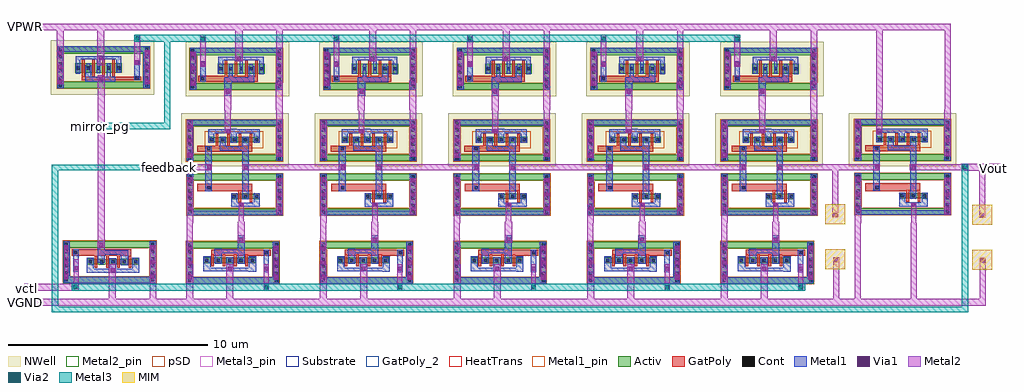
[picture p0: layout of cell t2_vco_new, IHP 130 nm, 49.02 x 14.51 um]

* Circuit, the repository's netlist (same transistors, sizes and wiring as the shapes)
* Extracted by KLayout with SG13G2 LVS runset on : 11/06/2025 10:43

.SUBCKT t2_vco_new
M$1 1 3 4 1 sg13_lv_nmos L=0.13u W=1u AS=0.295p AD=0.295p PS=3.56u PD=3.56u
M$5 1 3 5 1 sg13_lv_nmos L=0.13u W=1u AS=0.295p AD=0.295p PS=3.56u PD=3.56u
M$9 1 3 6 1 sg13_lv_nmos L=0.13u W=1u AS=0.295p AD=0.295p PS=3.56u PD=3.56u
M$13 1 3 7 1 sg13_lv_nmos L=0.13u W=1u AS=0.295p AD=0.295p PS=3.56u PD=3.56u
M$17 1 3 8 1 sg13_lv_nmos L=0.13u W=1u AS=0.295p AD=0.295p PS=3.56u PD=3.56u
M$21 1 3 9 1 sg13_lv_nmos L=0.13u W=1u AS=0.295p AD=0.295p PS=3.56u PD=3.56u
M$25 5 2 10 1 sg13_lv_nmos L=0.13u W=0.5u AS=0.17p AD=0.17p PS=2.08u PD=2.08u
M$27 6 10 11 1 sg13_lv_nmos L=0.13u W=0.5u AS=0.17p AD=0.17p PS=2.08u PD=2.08u
M$29 7 11 12 1 sg13_lv_nmos L=0.13u W=0.5u AS=0.17p AD=0.17p PS=2.08u PD=2.08u
M$31 8 12 13 1 sg13_lv_nmos L=0.13u W=0.5u AS=0.17p AD=0.17p PS=2.08u PD=2.08u
M$33 9 13 14 1 sg13_lv_nmos L=0.13u W=0.5u AS=0.17p AD=0.17p PS=2.08u PD=2.08u
M$35 1 14 2 1 sg13_lv_nmos L=0.13u W=0.5u AS=0.17p AD=0.17p PS=2.08u PD=2.08u
M$37 10 2 4 16 sg13_lv_pmos L=0.13u W=1u AS=0.2515p AD=0.34p PS=2.97u PD=4.16u
M$41 11 10 4 18 sg13_lv_pmos L=0.13u W=1u AS=0.2515p AD=0.34p PS=2.97u PD=4.16u
M$45 12 11 4 19 sg13_lv_pmos L=0.13u W=1u AS=0.2515p AD=0.34p PS=2.97u PD=4.16u
M$49 13 12 4 20 sg13_lv_pmos L=0.13u W=1u AS=0.2515p AD=0.34p PS=2.97u PD=4.16u
M$53 14 13 4 17 sg13_lv_pmos L=0.13u W=1u AS=0.2515p AD=0.34p PS=2.97u PD=4.16u
M$57 2 14 4 15 sg13_lv_pmos L=0.13u W=1u AS=0.2515p AD=0.34p PS=2.97u PD=4.16u
.ENDS t2_vco_new

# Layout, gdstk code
from math import pi, radians
import gdstk
lib = gdstk.Library(unit=1e-6, precision=1e-09)
def R(c, l, rs):  # rectangles x0, y0, x1, y1
    for r in rs: c.add(gdstk.rectangle(r[:2], r[2:], *l))
def A(c, l, x, y, w, h, nx, ny, dx, dy):  # array of equal rectangles
    R(c, l, [(x+i*dx, y+j*dy, x+i*dx+w, y+j*dy+h) for i in range(nx) for j in range(ny)])
def P(c, l, *ps):  # polygons
    for p in ps: c.add(gdstk.Polygon(p, *l))
Activ = (1, 0)
GatPoly = (5, 0)
GatPoly_2 = (5, 2)
Cont = (6, 0)
Metal1 = (8, 0)
Metal1_pin = (8, 2)
Metal2 = (10, 0)
Metal2_pin = (10, 2)
pSD = (14, 0)
Via1 = (19, 0)
Via2 = (29, 0)
Metal3 = (30, 0)
Metal3_pin = (30, 2)
NWell = (31, 0)
MIM = (36, 0)
Substrate = (40, 0)
HeatTrans = (51, 0)

nmos_2 = lib.new_cell('nmos$2')
R(nmos_2, Activ, [(0,0,0.3,0.3), (0.57,0,0.87,0.3), (0,0.025,0.87,0.275)])
R(nmos_2, GatPoly, [(0.37,-0.155,0.5,0.455)])
R(nmos_2, GatPoly_2, [(0.37,-0.155,0.5,0.455)])
R(nmos_2, Cont, [(0.07,0.07,0.23,0.23), (0.64,0.07,0.8,0.23)])
R(nmos_2, Metal1, [(0.07,0.02,0.23,0.28), (0.64,0.02,0.8,0.28)])
R(nmos_2, Metal1_pin, [(0.07,0.02,0.23,0.28), (0.64,0.02,0.8,0.28)])
R(nmos_2, HeatTrans, [(0.37,-0.155,0.5,0.455)])
nmos_2.add(gdstk.Label('nmos', (0.435,0.15), layer=63, texttype=0))
nmos_2.add(gdstk.Label('nmos', (0.435,0.15), layer=51, texttype=0))

pmos_2 = lib.new_cell('pmos$2')
R(pmos_2, Activ, [(0,0,0.3,0.3), (0.57,0,0.87,0.3), (0,0.025,0.87,0.275)])
R(pmos_2, GatPoly, [(0.37,-0.155,0.5,0.455), (0.37,-0.155,0.5,0.455)])
R(pmos_2, Cont, [(0.07,0.07,0.23,0.23), (0.64,0.07,0.8,0.23)])
R(pmos_2, Metal1, [(0.07,0.02,0.23,0.28), (0.07,0.02,0.23,0.28), (0.64,0.02,0.8,0.28), (0.64,0.02,0.8,0.28)])
R(pmos_2, pSD, [(-0.18,-0.275,1.05,0.575)])
R(pmos_2, NWell, [(-0.31,-0.31,1.18,0.61)])
R(pmos_2, Substrate, [(0.57,0,0.87,0.3)])
R(pmos_2, HeatTrans, [(0.37,-0.155,0.5,0.455)])
pmos_2.add(gdstk.Label('pmos', (0.435,0.15), layer=63, texttype=0))
pmos_2.add(gdstk.Label('pmos', (0.435,0.15), layer=51, texttype=0))

t2_inverter = lib.new_cell('T2_Inverter')
R(t2_inverter, Activ, [(-4.36,-2.545,0.14,-2.22), (0.14,-2.545,0.46,-0.79), (-4.36,-2.22,-4.04,-0.47), (-4.04,-0.79,0.46,-0.47), (-4.36,0.17,0.14,0.49), (0.14,0.17,0.46,1.92), (-4.36,0.49,-4.04,2.24), (-4.04,1.92,0.46,2.24)])
R(t2_inverter, GatPoly, [(-3.82,-1.36,-1.06,-0.97), (-3.835,0.635,-1.055,0.935)])
A(t2_inverter, Cont, -4.275, -2.13, 0.16, 0.16, 1, 5, 0, 0.355)
A(t2_inverter, Cont, 0.22, -2.13, 0.16, 0.16, 1, 5, 0, 0.355)
A(t2_inverter, Cont, -4.28, 0.58, 0.16, 0.16, 1, 5, 0, 0.355)
A(t2_inverter, Cont, 0.22, 0.58, 0.16, 0.16, 1, 5, 0, 0.355)
R(t2_inverter, Cont, [(-4.275,-2.475,-4.115,-2.31), (0.22,-2.475,0.38,-2.31), (-1.7,-2.11,-1.54,-1.95), (-0.92,-1.685,-0.76,-1.525), (-2.06,-1.68,-1.9,-1.52), (-1.49,-1.68,-1.33,-1.52), (-3.315,-1.26,-3.155,-1.1), (-4.28,0.24,-4.12,0.4), (0.215,0.24,0.375,0.4), (-3.335,0.715,-3.175,0.875)])
R(t2_inverter, Metal1, [(-4.36,-2.545,-4.04,-0.47), (-4.36,-2.545,-4.04,-0.47), (-4.04,-2.545,0.14,-2.325), (0.14,-2.545,0.46,-0.47), (-2.13,-2.14,-1.83,-1.45), (-1.835,-2.14,-0.995,-1.93), (-0.995,-2.14,-0.695,-1.45), (-1.575,-1.75,-1.255,1.38), (-3.43,-1.345,-3.09,0.9), (-4.36,0.17,-4.04,2.24), (0.14,0.17,0.46,2.24), (-2.705,0.69,-2.405,1.38), (-2.415,0.695,-1.575,0.905), (-3.275,1.085,-2.975,1.775), (-0.995,1.085,-0.695,1.775), (-2.14,1.09,-1.84,1.78), (-2.975,1.565,-2.135,1.775), (-1.84,1.565,-0.995,1.775), (-4.04,1.96,0.14,2.24)])
R(t2_inverter, Metal2, [(-1.745,-2.965,-1.485,-1.93), (-4.365,-2.94,-4.04,-1.995), (-4.36,-2.52,-4.04,-0.645), (0.14,-2.52,0.46,-0.69), (-5.385,-0.3,-3.09,0), (-1.575,-0.3,1.335,0), (-4.365,0.335,-4.045,2.22), (0.14,0.38,0.46,2.225), (-2.44,1.565,-2.14,2.845), (0.14,1.755,0.46,2.755), (0.14,1.755,0.46,2.755)])
R(t2_inverter, Metal2_pin, [(-1.725,-2.14,-1.515,-1.93), (-4.3,-0.91,-4.09,-0.7), (-1.505,-0.265,-1.295,-0.055), (-3.335,-0.25,-3.125,-0.04), (-4.305,0.385,-4.095,0.595), (-2.395,1.565,-2.185,1.775)])
R(t2_inverter, pSD, [(-4.385,-2.575,0.115,-2.19), (0.115,-2.575,0.495,-0.82), (-4.385,-2.19,-4.005,-0.44), (-4.005,-0.82,0.495,-0.44), (-4.395,0.14,0.105,0.525), (0.105,0.14,0.485,1.895), (-4.395,0.525,-4.015,2.275), (-4.015,1.895,0.485,2.275)])
R(t2_inverter, Via1, [(-4.29,-2.315,-4.1,-2.125), (0.205,-2.315,0.395,-2.125), (-1.715,-2.13,-1.525,-1.94), (-4.29,-1.61,-4.1,-1.42), (0.205,-1.61,0.395,-1.42), (-4.29,-0.9,-4.1,-0.71), (0.205,-0.9,0.395,-0.71), (-1.495,-0.255,-1.305,-0.065), (-3.325,-0.24,-3.135,-0.05), (-4.295,0.395,-4.105,0.585), (0.205,0.395,0.395,0.585), (-4.295,1.1,-4.105,1.29), (0.205,1.1,0.395,1.29), (-2.385,1.575,-2.195,1.765), (-4.295,1.81,-4.105,2), (0.205,1.81,0.395,2)])
R(t2_inverter, NWell, [(-4.645,-0.095,0.755,2.555)])
t2_inverter.add(gdstk.Reference(nmos_2, (-1.56,-1.75)))
t2_inverter.add(gdstk.Reference(nmos_2, (-2.13,-1.75)))
t2_inverter.add(gdstk.Reference(pmos_2, (-2.125,1.085)))
t2_inverter.add(gdstk.Reference(pmos_2, (-1.555,1.085)))
t2_inverter.add(gdstk.Reference(pmos_2, (-2.695,1.085)))
t2_inverter.add(gdstk.Reference(pmos_2, (-3.265,1.09)))
t2_inverter.add(gdstk.Label('Y', (-1.395,-0.165), layer=10, texttype=2))
t2_inverter.add(gdstk.Label('A', (-3.225,-0.095), layer=10, texttype=2))
t2_inverter.add(gdstk.Label('VGND', (-1.61,-2.025), layer=10, texttype=2))
t2_inverter.add(gdstk.Label('VPWR', (-2.32,1.67), layer=10, texttype=2))
t2_inverter.add(gdstk.Label('VPB', (0.29,1.895), layer=10, texttype=2))
t2_inverter.add(gdstk.Label('VNB', (-4.245,-2.93), layer=10, texttype=2))

nmos_bulk = lib.new_cell('nmos_bulk')
R(nmos_bulk, Activ, [(-0.2,2.025,4.13,2.345), (4.13,2.025,4.45,3.805), (-0.2,2.345,0.12,4.125), (0.12,3.805,4.45,4.125)])
R(nmos_bulk, GatPoly, [(1.045,2.43,4.035,2.72)])
A(nmos_bulk, Cont, -0.12, 2.465, 0.16, 0.16, 1, 5, 0, 0.355)
A(nmos_bulk, Cont, 4.225, 2.465, 0.16, 0.16, 1, 5, 0, 0.355)
R(nmos_bulk, Cont, [(-0.12,2.105,0.04,2.265), (4.225,2.105,4.385,2.265), (3.74,2.505,3.9,2.665)])
R(nmos_bulk, Metal1, [(2.365,1.71,2.725,3.135), (4.125,2.02,4.445,4.12), (-0.2,2.025,0.12,4.125), (1.21,2.385,1.57,3.13), (1.195,2.395,2.725,2.615), (3.67,2.43,3.94,3.55), (0.65,2.755,1.01,3.52), (2.935,2.76,3.295,3.525), (1.795,2.795,2.155,3.52), (0.65,3.32,3.295,3.52), (0.12,3.805,4.125,4.125)])
R(nmos_bulk, Metal2, [(2.375,1.015,2.73,2.075), (-0.195,1.02,0.11,2.6), (-0.2,2.215,0.12,3.93), (4.18,2.215,4.445,3.93), (1.805,3.145,2.16,4.895), (3.685,3.15,3.93,4.48)])
R(nmos_bulk, Metal2_pin, [(2.445,1.805,2.655,2.015), (-0.145,2.255,0.065,2.46), (3.71,3.275,3.92,3.485), (1.875,3.28,2.085,3.49)])
R(nmos_bulk, pSD, [(-0.23,1.985,4.105,2.37), (4.105,1.985,4.485,3.775), (-0.23,2.37,0.15,4.155), (0.15,3.775,4.485,4.155)])
R(nmos_bulk, Via1, [(2.455,1.815,2.645,2.005), (-0.135,2.265,0.055,2.455), (4.215,2.27,4.405,2.46), (-0.135,2.98,0.055,3.17), (4.215,2.985,4.405,3.175), (3.72,3.285,3.91,3.475), (1.885,3.29,2.075,3.48), (-0.135,3.69,0.055,3.88), (4.215,3.695,4.405,3.885)])
nmos_bulk.add(gdstk.Reference(nmos_2, (0.675,2.81)))
nmos_bulk.add(gdstk.Reference(nmos_2, (1.245,2.81)))
nmos_bulk.add(gdstk.Reference(nmos_2, (1.815,2.81)))
nmos_bulk.add(gdstk.Reference(nmos_2, (2.385,2.81)))
nmos_bulk.add(gdstk.Label('D', (2.57,1.935), layer=10, texttype=2))
nmos_bulk.add(gdstk.Label('S', (1.955,3.43), layer=10, texttype=2))
nmos_bulk.add(gdstk.Label('G', (3.79,3.395), layer=10, texttype=2))
nmos_bulk.add(gdstk.Label('B', (-0.08,1.13), layer=10, texttype=2))

nmos_3 = lib.new_cell('nmos$3')
R(nmos_3, Activ, [(0,0,0.3,0.3), (0,0,0.81,0.5), (0.51,0,0.81,0.3)])
R(nmos_3, GatPoly, [(0.34,-0.18,0.47,0.68)])
R(nmos_3, GatPoly_2, [(0.34,-0.18,0.47,0.68)])
R(nmos_3, Cont, [(0.07,0.17,0.23,0.33), (0.58,0.17,0.74,0.33)])
R(nmos_3, Metal1, [(0.07,0,0.23,0.5), (0.58,0,0.74,0.5)])
R(nmos_3, Metal1_pin, [(0.07,0,0.23,0.5), (0.58,0,0.74,0.5)])
R(nmos_3, HeatTrans, [(0.34,-0.18,0.47,0.68)])
nmos_3.add(gdstk.Label('nmos', (0.405,0.25), layer=63, texttype=0))
nmos_3.add(gdstk.Label('nmos', (0.405,0.25), layer=51, texttype=0))

pmos_bulk = lib.new_cell('pmos_bulk')
R(pmos_bulk, Activ, [(0.455,-6.88,4.79,-6.56), (4.79,-6.88,5.11,-5.145), (0.455,-6.56,0.775,-4.795), (0.775,-5.145,5.11,-4.795)])
R(pmos_bulk, GatPoly, [(1.705,-6.475,4.695,-6.175)])
A(pmos_bulk, Cont, 0.54, -6.44, 0.16, 0.16, 1, 5, 0, 0.355)
A(pmos_bulk, Cont, 4.885, -6.44, 0.16, 0.16, 1, 5, 0, 0.355)
R(pmos_bulk, Cont, [(0.54,-6.8,0.7,-6.64), (4.885,-6.8,5.045,-6.64), (4.4,-6.4,4.56,-6.24)])
R(pmos_bulk, Metal1, [(3.025,-7.195,3.385,-6.51), (4.785,-6.885,5.105,-4.785), (0.46,-6.88,0.78,-4.78), (1.87,-6.51,3.385,-6.265), (1.87,-6.51,2.17,-5.68), (4.33,-6.475,4.6,-5.465), (2.955,-6.265,3.15,-5.67), (1.405,-6.11,1.63,-5.345), (2.45,-6.085,2.615,-5.345), (3.435,-6.08,3.68,-5.345), (1.405,-5.395,3.68,-5.235), (0.78,-5.04,4.785,-4.78)])
R(pmos_bulk, Metal2, [(3.03,-7.91,3.385,-6.85), (0.445,-7.9,0.8,-6.43), (0.46,-6.69,0.78,-4.975), (4.815,-6.69,5.105,-4.975), (4.325,-5.73,4.605,-4.135), (2.47,-5.45,2.825,-3.905)])
R(pmos_bulk, Metal2_pin, [(3.105,-7.1,3.315,-6.89), (0.52,-6.65,0.73,-6.44), (4.365,-5.69,4.575,-5.48), (2.545,-5.42,2.755,-5.21)])
R(pmos_bulk, pSD, [(0.45,-6.915,4.77,-6.53), (4.755,-6.915,5.135,-5.16), (0.435,-6.53,0.795,-4.78), (0.775,-5.16,5.135,-4.78)])
A(pmos_bulk, Via1, 0.525, -6.64, 0.19, 0.19, 1, 3, 0, 0.715)
R(pmos_bulk, Via1, [(3.115,-7.09,3.305,-6.9), (4.875,-6.635,5.065,-6.445), (4.875,-5.92,5.065,-5.73), (4.375,-5.68,4.565,-5.49), (2.565,-5.41,2.755,-5.22), (4.875,-5.21,5.065,-5.02)])
R(pmos_bulk, NWell, [(0.13,-7.22,5.33,-4.48)])
pmos_bulk.add(gdstk.Reference(nmos_3, (1.875,-6.08)))
pmos_bulk.add(gdstk.Reference(nmos_3, (1.365,-6.08)))
pmos_bulk.add(gdstk.Reference(nmos_3, (2.385,-6.08)))
pmos_bulk.add(gdstk.Reference(nmos_3, (2.895,-6.08)))
pmos_bulk.add(gdstk.Label('D', (3.225,-6.98), layer=10, texttype=2))
pmos_bulk.add(gdstk.Label('B', (0.615,-6.6), layer=10, texttype=2))
pmos_bulk.add(gdstk.Label('S', (2.63,-5.295), layer=10, texttype=2))
pmos_bulk.add(gdstk.Label('G', (4.48,-5.615), layer=10, texttype=2))

vco_1 = lib.new_cell('VCO_1')
R(vco_1, Metal2, [(-4.07,-6.635,-3.715,-4.885), (0.45,5.46,0.765,6.85)])
R(vco_1, Metal2_pin, [(0.505,5.535,0.705,5.74)])
R(vco_1, Via2, [(-0.14,-6.14,0.05,-5.95), (-3.34,6.35,-3.15,6.54)])
vco_1.add(gdstk.Reference(t2_inverter, (0.31,0.12)))
vco_1.add(gdstk.Reference(nmos_bulk, (-3.86,-1.74), x_reflection=True))
vco_1.add(gdstk.Reference(pmos_bulk, (1.225,10.755), rotation=pi, x_reflection=True))

t2_inverter_buffer = lib.new_cell('t2_inverter_buffer')
R(t2_inverter_buffer, Activ, [(-6.24,-2.595,-1.74,-2.27), (-1.74,-2.595,-1.42,-0.84), (-6.24,-2.27,-5.92,-0.52), (-5.92,-0.84,-1.42,-0.52), (-6.24,0.12,-1.74,0.44), (-1.74,0.12,-1.42,1.87), (-6.24,0.44,-5.92,2.19), (-5.92,1.87,-1.42,2.19)])
R(t2_inverter_buffer, GatPoly, [(-5.7,-1.41,-2.94,-1.02), (-5.715,0.585,-2.935,0.885)])
A(t2_inverter_buffer, Cont, -6.155, -2.18, 0.16, 0.16, 1, 5, 0, 0.355)
A(t2_inverter_buffer, Cont, -1.66, -2.18, 0.16, 0.16, 1, 5, 0, 0.355)
A(t2_inverter_buffer, Cont, -6.16, 0.53, 0.16, 0.16, 1, 5, 0, 0.355)
A(t2_inverter_buffer, Cont, -1.66, 0.53, 0.16, 0.16, 1, 5, 0, 0.355)
R(t2_inverter_buffer, Cont, [(-6.155,-2.525,-5.995,-2.36), (-1.66,-2.525,-1.5,-2.36), (-3.345,-2.175,-3.185,-2.015), (-2.8,-1.735,-2.64,-1.575), (-3.94,-1.73,-3.78,-1.57), (-3.37,-1.73,-3.21,-1.57), (-5.195,-1.31,-5.035,-1.15), (-6.16,0.19,-6,0.35), (-1.665,0.19,-1.505,0.35), (-5.215,0.665,-5.055,0.825)])
R(t2_inverter_buffer, Metal1, [(-6.24,-2.595,-5.92,-0.52), (-6.24,-2.595,-5.92,-0.52), (-5.92,-2.595,-1.74,-2.375), (-1.74,-2.595,-1.42,-0.52), (-4.01,-2.19,-3.71,-1.5), (-3.715,-2.19,-2.875,-1.98), (-2.875,-2.19,-2.575,-1.5), (-3.455,-1.8,-3.135,1.33), (-5.31,-1.395,-4.97,0.85), (-6.24,0.12,-5.92,2.19), (-1.74,0.12,-1.42,2.19), (-4.585,0.64,-4.285,1.33), (-4.295,0.645,-3.455,0.855), (-5.155,1.035,-4.855,1.725), (-2.875,1.035,-2.575,1.725), (-4.02,1.04,-3.72,1.73), (-4.855,1.515,-4.015,1.725), (-3.72,1.515,-2.875,1.725), (-5.92,1.91,-1.74,2.19)])
R(t2_inverter_buffer, Metal2, [(-3.395,-3.035,-3.135,-1.995), (-6.235,-3.01,-5.91,-2.065), (-6.24,-2.57,-5.92,-0.695), (-1.74,-2.57,-1.42,-0.74), (-7.28,-0.37,-4.985,-0.065), (-3.47,-0.365,-0.57,-0.065), (-6.245,0.285,-5.925,2.17), (-1.74,0.33,-1.42,2.175), (-5.145,1.43,-4.845,2.71), (-1.73,1.685,-1.41,2.685)])
R(t2_inverter_buffer, Metal2_pin, [(-6.185,-2.38,-5.965,-2.16), (-3.37,-2.205,-3.16,-1.995), (-6.18,-0.96,-5.97,-0.75), (-3.385,-0.315,-3.175,-0.105), (-5.215,-0.3,-5.005,-0.09), (-6.185,0.335,-5.975,0.545), (-5.115,1.5,-4.905,1.71), (-1.685,1.75,-1.475,1.955)])
R(t2_inverter_buffer, pSD, [(-6.265,-2.625,-1.765,-2.24), (-1.765,-2.625,-1.385,-0.87), (-6.265,-2.24,-5.885,-0.49), (-5.885,-0.87,-1.385,-0.49), (-6.275,0.09,-1.775,0.475), (-1.775,0.09,-1.395,1.845), (-6.275,0.475,-5.895,2.225), (-5.895,1.845,-1.395,2.225)])
R(t2_inverter_buffer, Via1, [(-6.17,-2.365,-5.98,-2.175), (-1.675,-2.365,-1.485,-2.175), (-3.36,-2.195,-3.17,-2.005), (-6.17,-1.66,-5.98,-1.47), (-1.675,-1.66,-1.485,-1.47), (-6.17,-0.95,-5.98,-0.76), (-1.675,-0.95,-1.485,-0.76), (-3.375,-0.305,-3.185,-0.115), (-5.205,-0.29,-5.015,-0.1), (-6.175,0.345,-5.985,0.535), (-1.675,0.345,-1.485,0.535), (-6.175,1.05,-5.985,1.24), (-1.675,1.05,-1.485,1.24), (-5.105,1.51,-4.915,1.7), (-6.175,1.76,-5.985,1.95), (-1.675,1.76,-1.485,1.95)])
R(t2_inverter_buffer, NWell, [(-6.54,-0.16,-1.14,2.49), (-6.525,-0.145,-1.125,2.505)])
t2_inverter_buffer.add(gdstk.Reference(nmos_2, (-3.44,-1.8)))
t2_inverter_buffer.add(gdstk.Reference(nmos_2, (-4.01,-1.8)))
t2_inverter_buffer.add(gdstk.Reference(pmos_2, (-4.005,1.035)))
t2_inverter_buffer.add(gdstk.Reference(pmos_2, (-3.435,1.035)))
t2_inverter_buffer.add(gdstk.Reference(pmos_2, (-4.575,1.035)))
t2_inverter_buffer.add(gdstk.Reference(pmos_2, (-5.145,1.04)))
t2_inverter_buffer.add(gdstk.Label('A', (-5.11,-0.24), layer=10, texttype=2))
t2_inverter_buffer.add(gdstk.Label('Y', (-3.25,-0.255), layer=10, texttype=2))
t2_inverter_buffer.add(gdstk.Label('VPB', (-1.55,1.84), layer=10, texttype=2))
t2_inverter_buffer.add(gdstk.Label('VPWR', (-5.03,1.61), layer=10, texttype=2))
t2_inverter_buffer.add(gdstk.Label('VGND', (-3.32,-2.15), layer=10, texttype=2))
t2_inverter_buffer.add(gdstk.Label('VNB', (-6.115,-2.26), layer=10, texttype=2))

t2_nmos = lib.new_cell('t2_nmos')
R(t2_nmos, Activ, [(-5.06,-0.845,-0.73,-0.525), (-0.73,-0.845,-0.41,0.935), (-5.06,-0.525,-4.74,1.255), (-4.735,0.935,-0.405,1.255)])
R(t2_nmos, GatPoly, [(-3.82,-0.44,-0.825,-0.12)])
A(t2_nmos, Cont, -4.98, -0.405, 0.16, 0.16, 1, 5, 0, 0.355)
A(t2_nmos, Cont, -0.635, -0.405, 0.16, 0.16, 1, 5, 0, 0.355)
R(t2_nmos, Cont, [(-4.98,-0.765,-4.82,-0.605), (-0.635,-0.765,-0.475,-0.605), (-1.11,-0.37,-0.95,-0.21)])
R(t2_nmos, Metal1, [(-0.735,-0.85,-0.415,1.25), (-5.06,-0.845,-4.74,1.255), (-2.495,-0.845,-2.135,0.245), (-1.19,-0.44,-0.915,0.68), (-3.655,-0.39,-3.295,0.355), (-3.67,-0.38,-2.14,-0.16), (-4.215,-0.02,-3.855,0.745), (-1.93,-0.015,-1.57,0.75), (-3.07,0.02,-2.71,0.745), (-4.215,0.545,-1.57,0.745), (-4.74,0.935,-0.735,1.255)])
R(t2_nmos, Metal2, [(-2.49,-1.23,-2.135,-0.525), (-5.06,-0.655,-4.74,1.06), (-0.655,-0.655,-0.44,1.06), (-1.185,0.06,-0.925,1.645), (-3.05,0.315,-2.695,2.05), (-5.06,0.74,-4.755,2.05)])
R(t2_nmos, Metal2_pin, [(-2.415,-0.77,-2.205,-0.56), (-1.17,0.41,-0.96,0.62), (-2.99,0.505,-2.78,0.715), (-5.015,0.8,-4.785,1.02)])
R(t2_nmos, pSD, [(-5.09,-0.885,-0.755,-0.5), (-0.755,-0.885,-0.375,0.905), (-5.09,-0.5,-4.71,1.285), (-4.71,0.905,-0.375,1.285)])
R(t2_nmos, Via1, [(-2.405,-0.76,-2.215,-0.57), (-4.995,-0.605,-4.805,-0.415), (-0.645,-0.6,-0.455,-0.41), (-4.995,0.11,-4.805,0.3), (-0.645,0.115,-0.455,0.305), (-1.16,0.42,-0.97,0.61), (-2.98,0.515,-2.79,0.705), (-4.995,0.82,-4.805,1.01), (-0.645,0.825,-0.455,1.015)])
t2_nmos.add(gdstk.Reference(nmos_2, (-4.19,0.035)))
t2_nmos.add(gdstk.Reference(nmos_2, (-3.62,0.035)))
t2_nmos.add(gdstk.Reference(nmos_2, (-3.05,0.035)))
t2_nmos.add(gdstk.Reference(nmos_2, (-2.48,0.035)))
t2_nmos.add(gdstk.Label('S', (-2.91,0.555), layer=10, texttype=2))
t2_nmos.add(gdstk.Label('G', (-1.08,0.48), layer=10, texttype=2))
t2_nmos.add(gdstk.Label('D', (-2.33,-0.69), layer=10, texttype=2))
t2_nmos.add(gdstk.Label('B', (-4.895,0.865), layer=10, texttype=2))

t2_pmos = lib.new_cell('t2_pmos')
R(t2_pmos, Activ, [(-3.64,5.625,0.695,5.945), (0.695,5.625,1.015,7.36), (-3.64,5.945,-3.32,7.71), (-3.32,7.36,1.015,7.71)])
R(t2_pmos, GatPoly, [(-2.39,6.03,0.6,6.21)])
A(t2_pmos, Cont, -3.555, 6.065, 0.16, 0.16, 1, 5, 0, 0.355)
A(t2_pmos, Cont, 0.79, 6.065, 0.16, 0.16, 1, 5, 0, 0.355)
R(t2_pmos, Cont, [(-3.555,5.705,-3.395,5.865), (0.79,5.705,0.95,5.865), (0.295,6.06,0.455,6.22)])
R(t2_pmos, Metal1, [(0.69,5.62,1.01,7.72), (-3.635,5.625,-3.315,7.725), (-2.225,5.96,-0.71,6.205), (-2.225,5.96,-1.925,6.79), (0.235,6.03,0.505,7.04), (-1.14,6.205,-0.945,6.8), (-2.69,6.36,-2.465,7.125), (-1.645,6.385,-1.48,7.125), (-0.66,6.39,-0.415,7.125), (-2.69,7.075,-0.415,7.235), (-3.315,7.45,0.69,7.725)])
R(t2_pmos, Metal2, [(-1.6,-2.055,-1.245,6.28), (-3.635,5.815,-3.315,7.53), (0.755,5.815,1.01,7.53), (-1.625,6.785,-1.27,8.53), (0.23,6.81,0.545,8.305), (-3.655,7.06,-3.3,8.53)])
R(t2_pmos, Metal2_pin, [(-1.525,5.995,-1.315,6.205), (0.26,6.825,0.47,7.035), (-1.55,7.05,-1.325,7.26), (-3.59,7.26,-3.355,7.5)])
R(t2_pmos, pSD, [(-3.66,5.59,0.66,5.975), (0.66,5.59,1.04,7.345), (-3.66,5.975,-3.3,7.725), (-3.32,7.345,1.04,7.725)])
R(t2_pmos, Via1, [(-3.57,5.865,-3.38,6.055), (0.78,5.87,0.97,6.06), (-1.515,6.005,-1.325,6.195), (-3.57,6.58,-3.38,6.77), (0.78,6.585,0.97,6.775), (0.27,6.835,0.46,7.025), (-1.53,7.06,-1.34,7.25), (-3.57,7.29,-3.38,7.48), (0.78,7.295,0.97,7.485)])
R(t2_pmos, NWell, [(-3.96,5.285,1.24,8.025)])
t2_pmos.add(gdstk.Reference(nmos_3, (-2.22,6.39)))
t2_pmos.add(gdstk.Reference(nmos_3, (-2.73,6.39)))
t2_pmos.add(gdstk.Reference(nmos_3, (-1.71,6.39)))
t2_pmos.add(gdstk.Reference(nmos_3, (-1.2,6.39)))
t2_pmos.add(gdstk.Label('D', (-1.46,6.055), layer=10, texttype=2))
t2_pmos.add(gdstk.Label('G', (0.33,6.895), layer=10, texttype=2))
t2_pmos.add(gdstk.Label('S', (-1.435,7.13), layer=10, texttype=2))
t2_pmos.add(gdstk.Label('B', (-3.5,7.375), layer=10, texttype=2))

t2_vco_new = lib.new_cell('t2_vco_new')
R(t2_vco_new, Metal2, [(-5.985,-6.33,42.32,-5.99), (34.645,-5.99,34.945,-3.895), (35.745,-5.99,36.045,-2.17), (38.55,-5.99,38.85,-2.2), (42.015,-5.99,42.315,-3.92), (-5.985,-5.585,-3.23,-5.24), (41.98,-1.92,42.28,0.44), (34.61,-1.895,34.91,0.465), (41.085,0.44,43.03,0.785), (40.25,3.51,40.55,7.495), (36.825,3.545,37.13,7.495), (-5.97,7.495,40.55,7.835)])
R(t2_vco_new, Metal2_pin, [(-5.985,-6.33,-5.66,-5.99), (-5.975,-5.58,-5.65,-5.24), (42.705,0.44,43.03,0.78), (-5.97,7.495,-5.645,7.835)])
R(t2_vco_new, Via1, [(42.065,-4.165,42.255,-3.975), (34.7,-4.145,34.89,-3.955), (42.03,-1.88,42.22,-1.69), (34.655,-1.85,34.845,-1.66)])
R(t2_vco_new, Via2, [(-3.5,-5.485,-3.31,-5.295), (41.17,0.515,41.36,0.705), (1.22,0.53,1.41,0.72), (-2.21,2.605,-2.02,2.795), (-0.38,7.01,-0.19,7.2)])
R(t2_vco_new, Metal3, [(-4.59,-6.67,41.425,-6.385), (41.11,-6.385,41.425,0.765), (-3.58,-5.575,33.26,-5.24), (-4.275,0.46,1.495,0.745), (-2.285,2.535,1.365,2.86), (1.05,2.86,1.365,6.93), (-0.455,6.93,29.975,7.265)])
P(t2_vco_new, Metal3, [(-4.59,-6.42),(-4.59,-0.95),(-4.59,0.745),(-4.275,0.745),(-4.275,-6.42)])
R(t2_vco_new, Metal3_pin, [(19.505,-5.515,19.725,-5.295), (6.08,-5.51,6.3,-5.29), (-3.51,-5.505,-3.29,-5.275), (26.22,-5.505,26.425,-5.295), (32.925,-5.505,33.135,-5.295), (12.795,-5.5,13.01,-5.295), (41.155,0.495,41.375,0.715), (1.205,0.505,1.435,0.745), (-2.225,2.58,-2,2.81), (29.715,6.97,29.95,7.2), (16.305,6.98,16.515,7.195), (2.885,6.985,3.095,7.19), (9.595,6.985,9.805,7.195), (23.015,6.985,23.23,7.2), (-0.385,7.005,-0.185,7.205)])
R(t2_vco_new, MIM, [(41.635,-4.525,42.635,-3.525), (34.265,-4.5,35.265,-3.5), (41.63,-2.265,42.63,-1.265), (34.26,-2.24,35.26,-1.24)])
t2_vco_new.add(gdstk.Reference(vco_1, (6.235,0.645)))
t2_vco_new.add(gdstk.Reference(vco_1, (12.945,0.645)))
t2_vco_new.add(gdstk.Reference(vco_1, (19.655,0.645)))
t2_vco_new.add(gdstk.Reference(vco_1, (26.365,0.645)))
t2_vco_new.add(gdstk.Reference(vco_1, (33.075,0.645)))
t2_vco_new.add(gdstk.Reference(t2_inverter_buffer, (41.97,0.835)))
t2_vco_new.add(gdstk.Reference(t2_nmos, (-4.415,-3.94), rotation=pi))
t2_vco_new.add(gdstk.Reference(t2_pmos, (-0.685,-1.035)))
t2_vco_new.add(gdstk.Label('VPWR', (-5.885,7.67), layer=10, texttype=2))
t2_vco_new.add(gdstk.Label('vctl', (-5.86,-5.455), layer=10, texttype=2))
t2_vco_new.add(gdstk.Label('Vout', (42.705,0.56), layer=10, texttype=2))
t2_vco_new.add(gdstk.Label('VGND', (-5.89,-6.19), layer=10, texttype=2))
t2_vco_new.add(gdstk.Label('feedback', (1.32,0.605), layer=30, texttype=0))
t2_vco_new.add(gdstk.Label('mirror_pg', (-2.145,2.685), layer=30, texttype=0))

lib.write_gds('t2_vco_new.gds')
